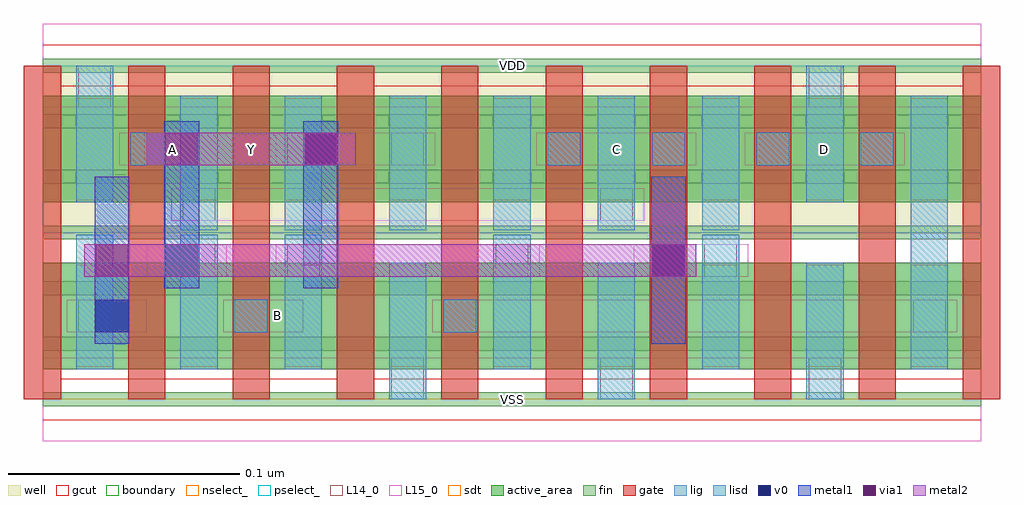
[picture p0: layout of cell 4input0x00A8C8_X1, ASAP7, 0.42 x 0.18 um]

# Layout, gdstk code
import gdstk
lib = gdstk.Library(unit=1e-6, precision=2.5e-10)
def R(c, l, rs):  # rectangles x0, y0, x1, y1
    for r in rs: c.add(gdstk.rectangle(r[:2], r[2:], *l))
def A(c, l, x, y, w, h, nx, ny, dx, dy):  # array of equal rectangles
    R(c, l, [(x+i*dx, y+j*dy, x+i*dx+w, y+j*dy+h) for i in range(nx) for j in range(ny)])
def P(c, l, *ps):  # polygons
    for p in ps: c.add(gdstk.Polygon(p, *l))
well = (1, 0)
fin = (2, 0)
gate = (7, 0)
gcut = (10, 0)
active_area = (11, 0)
nselect_ = (12, 0)
pselect_ = (13, 0)
L14_0 = (14, 0)
L15_0 = (15, 0)
lig = (16, 0)
lisd = (17, 0)
v0 = (18, 0)
metal1 = (19, 0)
metal2 = (20, 0)
via1 = (21, 0)
sdt = (88, 0)
boundary = (100, 0)

c_4input0x00a8c8_x1 = lib.new_cell('4input0x00A8C8_X1')
R(c_4input0x00a8c8_x1, well, [(0,0.072,0.405,0.144)])
A(c_4input0x00a8c8_x1, fin, 0, -0.003, 0.405, 0.006, 1, 7, 0, 0.024)
A(c_4input0x00a8c8_x1, gate, -0.008, 0, 0.016, 0.144, 10, 1, 0.045, 0)
P(c_4input0x00a8c8_x1, gcut, [(0,-0.009),(0,0),(-0.008,0),(-0.008,0.135),(0.008,0.135),(0.008,0.009),(0.127,0.009),(0.127,0.135),(0.143,0.135),(0.143,0.009),(0.397,0.009),(0.397,0.135),(-0.008,0.135),(-0.008,0.144),(0,0.144),(0,0.153),(0.405,0.153),(0.405,0.144),(0.413,0.144),(0.413,0),(0.405,0),(0.405,-0.009)])
R(c_4input0x00a8c8_x1, active_area, [(0,0.013,0.405,0.059), (0,0.085,0.405,0.131)])
R(c_4input0x00a8c8_x1, nselect_, [(0,0,0.405,0.072)])
R(c_4input0x00a8c8_x1, pselect_, [(0,0.072,0.405,0.144)])
A(c_4input0x00a8c8_x1, L14_0, 0.1505, 0, 0.014, 0.018, 3, 1, 0.09, 0)
A(c_4input0x00a8c8_x1, L14_0, 0.1055, 0.053, 0.014, 0.014, 3, 1, 0.09, 0)
A(c_4input0x00a8c8_x1, L14_0, 0.218, 0.101, 0.014, 0.014, 4, 1, 0.045, 0)
R(c_4input0x00a8c8_x1, L14_0, [(0.0155,0.029,0.0295,0.043), (0.083,0.029,0.097,0.043), (0.173,0.029,0.187,0.043), (0.3755,0.029,0.3895,0.043), (0.0605,0.053,0.0745,0.067), (0.0605,0.077,0.0745,0.091), (0.2405,0.077,0.2545,0.091), (0.038,0.101,0.052,0.115), (0.1055,0.101,0.1195,0.115), (0.1505,0.101,0.1645,0.115), (0.0155,0.126,0.0295,0.144), (0.3305,0.126,0.3445,0.144)])
R(c_4input0x00a8c8_x1, L15_0, [(0,-0.018,0.405,0.018), (0.0105,0.029,0.045,0.043), (0.078,0.029,0.1125,0.043), (0.168,0.029,0.3945,0.043), (0.045,0.053,0.0795,0.067), (0.1005,0.053,0.2145,0.067), (0.255,0.053,0.3045,0.067), (0.0555,0.077,0.2595,0.091), (0.033,0.101,0.0675,0.115), (0.1005,0.101,0.1695,0.115), (0.213,0.101,0.282,0.115), (0.303,0.101,0.372,0.115), (0,0.126,0.405,0.162)])
A(c_4input0x00a8c8_x1, lig, 0.218, 0.101, 0.014, 0.014, 4, 1, 0.045, 0)
R(c_4input0x00a8c8_x1, lig, [(0.083,0.029,0.097,0.043), (0.173,0.029,0.187,0.043), (0.038,0.101,0.052,0.115)])
A(c_4input0x00a8c8_x1, lisd, 0.1495, 0, 0.016, 0.059, 3, 1, 0.09, 0)
A(c_4input0x00a8c8_x1, lisd, 0.0145, 0.013, 0.016, 0.058, 3, 1, 0.045, 0)
A(c_4input0x00a8c8_x1, lisd, 0.0595, 0.073, 0.016, 0.058, 6, 1, 0.045, 0)
R(c_4input0x00a8c8_x1, lisd, [(0.1945,0.013,0.2105,0.071), (0.2845,0.013,0.3005,0.071), (0.3745,0.013,0.3905,0.131), (0.0145,0.085,0.0305,0.144), (0.3295,0.085,0.3455,0.144)])
R(c_4input0x00a8c8_x1, v0, [(0.023,0.029,0.037,0.043), (0.053,0.053,0.067,0.067), (0.263,0.053,0.277,0.067), (0.113,0.101,0.127,0.115)])
R(c_4input0x00a8c8_x1, metal1, [(0.0225,0.024,0.0375,0.096), (0.2625,0.024,0.2775,0.096), (0.0525,0.048,0.0675,0.12), (0.1125,0.048,0.1275,0.12)])
R(c_4input0x00a8c8_x1, metal2, [(0.018,0.053,0.282,0.067), (0.045,0.101,0.135,0.115)])
R(c_4input0x00a8c8_x1, via1, [(0.023,0.053,0.037,0.067), (0.263,0.053,0.277,0.067), (0.053,0.101,0.067,0.115), (0.113,0.101,0.127,0.115)])
A(c_4input0x00a8c8_x1, sdt, 0.0145, 0.014, 0.016, 0.044, 9, 2, 0.045, 0.072)
R(c_4input0x00a8c8_x1, boundary, [(0,0,0.405,0.144)])
c_4input0x00a8c8_x1.add(gdstk.Label('B', (0.1013,0.036), layer=15, texttype=251))
c_4input0x00a8c8_x1.add(gdstk.Label('VSS', (0.2025,0), layer=15, texttype=251))
c_4input0x00a8c8_x1.add(gdstk.Label('VDD', (0.2025,0.144), layer=15, texttype=251))
c_4input0x00a8c8_x1.add(gdstk.Label('C', (0.2475,0.108), layer=15, texttype=251))
c_4input0x00a8c8_x1.add(gdstk.Label('VSS', (0.2025,0), layer=15, texttype=251))
c_4input0x00a8c8_x1.add(gdstk.Label('VDD', (0.2025,0.144), layer=15, texttype=251))
c_4input0x00a8c8_x1.add(gdstk.Label('D', (0.3375,0.108), layer=15, texttype=251))
c_4input0x00a8c8_x1.add(gdstk.Label('VSS', (0.2025,0), layer=15, texttype=251))
c_4input0x00a8c8_x1.add(gdstk.Label('VDD', (0.2025,0.144), layer=15, texttype=251))
c_4input0x00a8c8_x1.add(gdstk.Label('A', (0.0563,0.108), layer=15, texttype=251))
c_4input0x00a8c8_x1.add(gdstk.Label('VSS', (0.2025,0), layer=15, texttype=251))
c_4input0x00a8c8_x1.add(gdstk.Label('VDD', (0.2025,0.144), layer=15, texttype=251))
c_4input0x00a8c8_x1.add(gdstk.Label('VSS', (0.2025,0), layer=15, texttype=251))
c_4input0x00a8c8_x1.add(gdstk.Label('VDD', (0.2025,0.144), layer=15, texttype=251))
c_4input0x00a8c8_x1.add(gdstk.Label('VSS', (0.2025,0), layer=3, texttype=251))
c_4input0x00a8c8_x1.add(gdstk.Label('VSS', (0.2025,0), layer=3, texttype=251))
c_4input0x00a8c8_x1.add(gdstk.Label('VSS', (0.2025,0), layer=3, texttype=251))
c_4input0x00a8c8_x1.add(gdstk.Label('VSS', (0.2025,0), layer=3, texttype=251))
c_4input0x00a8c8_x1.add(gdstk.Label('VSS', (0.2025,0), layer=3, texttype=251))
c_4input0x00a8c8_x1.add(gdstk.Label('VDD', (0.2025,0.144), layer=1, texttype=251))
c_4input0x00a8c8_x1.add(gdstk.Label('VDD', (0.2025,0.144), layer=1, texttype=251))
c_4input0x00a8c8_x1.add(gdstk.Label('VDD', (0.2025,0.144), layer=1, texttype=251))
c_4input0x00a8c8_x1.add(gdstk.Label('VDD', (0.2025,0.144), layer=1, texttype=251))
c_4input0x00a8c8_x1.add(gdstk.Label('VDD', (0.2025,0.144), layer=1, texttype=251))
c_4input0x00a8c8_x1.add(gdstk.Label('Y', (0.09,0.108), layer=20, texttype=251))

lib.write_gds('4input0x00A8C8_X1.gds')
